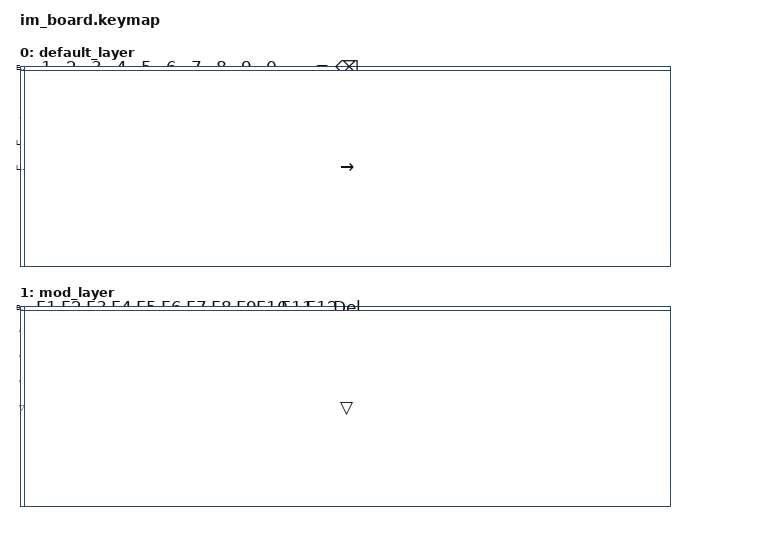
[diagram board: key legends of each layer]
// im_board.keymap
#include <behaviors.dtsi>
#include <dt-bindings/zmk/keys.h>
#include <dt-bindings/zmk/rgb.h>
#include <dt-bindings/zmk/ext_power.h>
#include <dt-bindings/zmk/bt.h>
#include <dt-bindings/zmk/outputs.h>

/ {
    behaviors {
        td_caps_led: tap_dance_caps_led {
            compatible = "zmk,behavior-tap-dance";
            label = "TAP_DANCE_CAPS_LED";
            #binding-cells = <0>;
            tapping-term-ms = <200>;
            bindings = <&kp CAPS>, <&rgb_ug RGB_TOG>;
        };
    };

    keymap {
        compatible = "zmk,keymap";

        default_layer {
            bindings = <
&kp ESC   &kp N1 &kp N2 &kp N3 &kp N4 &kp N5 &kp N6    &kp N7 &kp N8 &kp N9 &kp N0 &kp MINUS &kp EQUAL &kp BSPC
&kp GRAVE &kp Q  &kp W  &kp E  &kp R  &kp T  &kp Y     &kp U  &kp I  &kp O  &kp P  &kp LBKT  &kp RBKT  &kp BSLH
&kp TAB   &kp A  &kp S  &kp D  &kp F  &kp G  &kp H     &kp J  &kp K  &kp L  &kp SEMI &kp SQT           &kp RET
&kp LSHFT &kp Z  &kp X  &kp C  &kp V  &kp B  &kp N     &kp M  &kp COMMA &kp DOT &kp FSLH &kp RSHFT &kp UP &td_caps_led
&kp LCTRL &kp LGUI &kp LALT      &kp SPACE   &mo 1                                   &kp LEFT &kp DOWN &kp RIGHT
            >;
        };

        mod_layer {
            bindings = <
&bootloader &kp F1       &kp F2       &kp F3       &kp F4 &kp F5 &kp F6          &kp F7 &kp F8          &kp F9          &kp F10          &kp F11          &kp F12    &kp DEL
&trans      &bt BT_SEL 0 &bt BT_SEL 1 &bt BT_SEL 2 &trans &trans &trans          &trans &trans          &trans          &trans          &trans          &trans     &trans
&trans      &bt BT_CLR   &trans       &trans       &trans &trans &rgb_ug RGB_TOG &trans &rgb_ug RGB_EFF &rgb_ug RGB_HUI &rgb_ug RGB_SAI &rgb_ug RGB_BRI &trans
&trans      &out OUT_USB &out OUT_BLE &trans       &trans &trans &trans          &trans &rgb_ug RGB_EFR &rgb_ug RGB_HUD &rgb_ug RGB_SAD &rgb_ug RGB_BRD &trans &sys_reset
&trans      &trans       &trans                    &trans &trans                                        &trans          &studio_unlock  &trans
            >;
        };
    };
};
